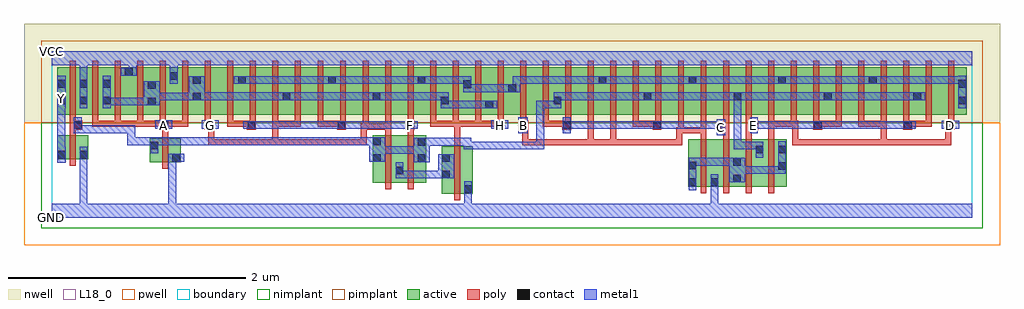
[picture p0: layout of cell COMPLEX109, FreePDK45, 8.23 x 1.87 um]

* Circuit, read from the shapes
.subckt COMPLEX109 A B C D E F G GND H VCC Y
M1 GND n1 Y VSUBS nfet w=0.2u l=0.05u
M2 GND A n1 VSUBS nfet w=0.2u l=0.05u
M3 n2 G n1 VSUBS nfet w=0.4u l=0.05u
M4 n1 F n2 VSUBS nfet w=0.4u l=0.05u
M5 GND H n2 VSUBS nfet w=0.4u l=0.05u
M6 GND B n3 VSUBS nfet w=0.4u l=0.05u
M7 n3 C GND VSUBS nfet w=0.4u l=0.05u
M8 n1 E n3 VSUBS nfet w=0.4u l=0.05u
M9 n3 D n1 VSUBS nfet w=0.4u l=0.05u
M10 VCC n1 Y n4 pfet w=0.4u l=0.05u
M11 n5 A VCC n4 pfet w=0.4u l=0.05u m=5
M12 n6 G n5 n4 pfet w=0.4u l=0.05u
M13 n7 F n6 n4 pfet w=0.4u l=0.05u
M14 n8 F n7 n4 pfet w=0.4u l=0.05u
M15 n5 G n8 n4 pfet w=0.4u l=0.05u
M16 n9 G n5 n4 pfet w=0.4u l=0.05u
M17 n7 F n9 n4 pfet w=0.4u l=0.05u
M18 n10 F n7 n4 pfet w=0.4u l=0.05u
M19 n5 G n10 n4 pfet w=0.4u l=0.05u
M20 n11 G n5 n4 pfet w=0.4u l=0.05u
M21 n7 F n11 n4 pfet w=0.4u l=0.05u
M22 n5 H n7 n4 pfet w=0.4u l=0.05u m=4
M23 n12 B n7 n4 pfet w=0.4u l=0.05u
M24 n1 C n12 n4 pfet w=0.4u l=0.05u
M25 n13 C n1 n4 pfet w=0.4u l=0.05u
M26 n7 B n13 n4 pfet w=0.4u l=0.05u
M27 n14 B n7 n4 pfet w=0.4u l=0.05u
M28 n1 C n14 n4 pfet w=0.4u l=0.05u
M29 n15 C n1 n4 pfet w=0.4u l=0.05u
M30 n7 B n15 n4 pfet w=0.4u l=0.05u
M31 n16 B n7 n4 pfet w=0.4u l=0.05u
M32 n1 C n16 n4 pfet w=0.4u l=0.05u
M33 n17 E n1 n4 pfet w=0.4u l=0.05u
M34 n7 D n17 n4 pfet w=0.4u l=0.05u
M35 n18 D n7 n4 pfet w=0.4u l=0.05u
M36 n1 E n18 n4 pfet w=0.4u l=0.05u
M37 n19 E n1 n4 pfet w=0.4u l=0.05u
M38 n7 D n19 n4 pfet w=0.4u l=0.05u
M39 n20 D n7 n4 pfet w=0.4u l=0.05u
M40 n1 E n20 n4 pfet w=0.4u l=0.05u
M41 n21 E n1 n4 pfet w=0.4u l=0.05u
M42 n7 D n21 n4 pfet w=0.4u l=0.05u
.ends

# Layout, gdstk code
import gdstk
lib = gdstk.Library(unit=1e-6, precision=1e-09)
def R(c, l, rs):  # rectangles x0, y0, x1, y1
    for r in rs: c.add(gdstk.rectangle(r[:2], r[2:], *l))
def A(c, l, x, y, w, h, nx, ny, dx, dy):  # array of equal rectangles
    R(c, l, [(x+i*dx, y+j*dy, x+i*dx+w, y+j*dy+h) for i in range(nx) for j in range(ny)])
active = (1, 0)
pwell = (2, 0)
nwell = (3, 0)
nimplant = (4, 0)
pimplant = (5, 0)
poly = (9, 0)
contact = (10, 0)
metal1 = (11, 0)
L18_0 = (18, 0)
boundary = (235, 0)

complex109 = lib.new_cell('COMPLEX109')
A(complex109, active, 5.55, 0.26, 0.265, 0.4, 3, 1, 0.19, 0)
A(complex109, active, 0.045, 0.867, 0.26, 0.4, 3, 1, 0.38, 0)
A(complex109, active, 0.045, 0.867, 0.075, 0.333, 5, 1, 0.38, 0)
A(complex109, active, 0.23, 0.867, 0.075, 0.4, 3, 1, 0.38, 0)
A(complex109, active, 0.23, 0.867, 0.27, 0.4, 3, 1, 0.38, 0)
A(complex109, active, 3.845, 0.867, 0.075, 0.333, 3, 1, 0.76, 0)
A(complex109, active, 3.845, 0.867, 0.225, 0.4, 6, 1, 0.38, 0)
A(complex109, active, 4.07, 0.867, 0.23, 0.4, 5, 1, 0.38, 0)
A(complex109, active, 4.225, 0.867, 0.075, 0.203, 4, 1, 0.76, 0)
R(complex109, active, [(3.287,0.202,3.547,0.602), (3.287,0.202,3.362,0.602), (3.472,0.202,3.547,0.602), (5.365,0.26,5.625,0.66), (5.365,0.26,5.44,0.66), (5.55,0.26,5.625,0.492), (2.705,0.292,2.97,0.692), (2.895,0.292,3.155,0.692), (5.74,0.292,5.815,0.507), (3.08,0.33,3.155,0.692), (2.705,0.345,2.78,0.692), (2.895,0.345,2.97,0.597), (5.93,0.345,6.005,0.61), (6.12,0.345,6.195,0.66), (0.827,0.467,0.902,0.667), (0.827,0.467,1.087,0.667), (1.012,0.467,1.087,0.667), (0.045,0.492,0.12,0.692), (0.045,0.492,0.305,0.692), (0.23,0.492,0.305,0.692), (1.185,0.867,1.41,1.267), (1.41,0.867,1.64,1.267), (1.565,0.867,1.79,1.267), (1.79,0.867,2.015,1.267), (1.94,0.867,2.17,1.267), (1.94,0.867,2.015,1.07), (2.17,0.867,2.4,1.267), (2.325,0.867,2.4,1.2), (2.325,0.867,2.55,1.267), (2.55,0.867,2.775,1.267), (2.7,0.867,2.93,1.267), (2.7,0.867,2.775,1.07), (2.93,0.867,3.155,1.267), (3.08,0.867,3.155,1.2), (3.08,0.867,3.35,1.267), (3.275,0.867,3.54,1.267), (3.275,0.867,3.35,1.07), (3.465,0.867,3.725,1.267), (3.465,0.867,3.54,1.2), (3.65,0.867,3.725,1.07), (3.65,0.867,3.92,1.267), (5.97,0.867,6.195,1.267), (6.12,0.867,6.195,1.2), (6.12,0.867,6.35,1.267), (6.35,0.867,6.58,1.267), (6.505,0.867,6.73,1.267), (6.73,0.867,6.96,1.267), (6.885,0.867,6.96,1.2), (6.885,0.867,7.11,1.267), (7.11,0.867,7.335,1.267), (7.26,0.867,7.49,1.267), (7.26,0.867,7.335,1.07), (7.49,0.867,7.715,1.267), (7.64,0.867,7.715,1.2)])
R(complex109, pwell, [(-0.235,-0.235,7.995,0.8)])
R(complex109, nwell, [(-0.235,0.8,7.995,1.635)])
R(complex109, nimplant, [(-0.09,-0.09,7.85,0.8)])
R(complex109, pimplant, [(-0.09,0.8,7.85,1.49)])
A(complex109, poly, 5.47, 0.205, 0.05, 0.51, 4, 1, 0.19, 0)
A(complex109, poly, 0.15, 0.767, 0.05, 0.095, 13, 1, 0.19, 0)
A(complex109, poly, 0.34, 0.767, 0.24, 0.05, 3, 1, 0.19, 0)
A(complex109, poly, 1.86, 0.767, 0.05, 0.05, 3, 1, 0.19, 0)
A(complex109, poly, 3, 0.767, 0.05, 0.095, 8, 1, 0.19, 0)
A(complex109, poly, 5.85, 0.767, 0.05, 0.095, 10, 1, 0.19, 0)
A(complex109, poly, 6.61, 0.767, 0.05, 0.05, 3, 1, 0.19, 0)
A(complex109, poly, 0.15, 0.812, 0.05, 0.51, 40, 1, 0.19, 0)
R(complex109, poly, [(3.392,0.147,3.442,0.657), (2.81,0.237,2.86,0.747), (3,0.237,3.05,0.747), (0.932,0.412,0.982,0.722), (0.15,0.437,0.2,0.747), (3.392,0.607,3.442,0.817), (1.32,0.61,1.37,0.66), (1.32,0.61,1.37,0.66), (1.32,0.61,1.37,0.66), (1.32,0.61,1.37,0.66), (1.32,0.61,1.37,0.66), (1.32,0.61,1.37,0.792), (1.32,0.61,1.562,0.66), (1.512,0.61,1.562,0.66), (1.512,0.61,1.562,0.66), (1.512,0.61,1.562,0.66), (1.512,0.61,1.777,0.66), (1.727,0.61,1.777,0.66), (1.727,0.61,1.777,0.66), (1.727,0.61,1.777,0.66), (1.727,0.61,1.91,0.66), (1.86,0.61,1.91,0.66), (1.86,0.61,1.91,0.66), (1.86,0.61,1.91,0.66), (1.86,0.61,1.91,0.66), (1.86,0.61,1.91,0.66), (1.86,0.61,2.042,0.66), (1.86,0.61,1.91,0.817), (1.992,0.61,2.042,0.66), (1.992,0.61,2.042,0.66), (1.992,0.61,2.042,0.66), (1.992,0.61,2.175,0.66), (2.125,0.61,2.175,0.66), (2.125,0.61,2.422,0.66), (2.372,0.61,2.422,0.66), (2.372,0.61,2.422,0.66), (2.372,0.61,2.422,0.66), (2.372,0.61,2.655,0.66), (2.605,0.61,2.655,0.66), (2.605,0.61,2.655,0.66), (2.605,0.61,2.655,0.66), (2.605,0.61,2.655,0.66), (2.605,0.61,2.655,0.66), (2.605,0.61,2.655,0.792), (3.965,0.61,4.015,0.66), (3.965,0.61,4.015,0.66), (3.965,0.61,4.015,0.66), (3.965,0.61,4.015,0.792), (3.965,0.61,4.147,0.66), (4.097,0.61,4.147,0.66), (4.097,0.61,4.147,0.66), (4.097,0.61,4.147,0.66), (4.097,0.61,4.322,0.66), (4.272,0.61,4.322,0.66), (4.272,0.61,4.322,0.66), (4.272,0.61,4.322,0.66), (4.272,0.61,4.57,0.66), (4.52,0.61,4.57,0.66), (4.52,0.61,4.57,0.66), (4.52,0.61,4.57,0.66), (4.52,0.61,4.57,0.66), (4.52,0.61,4.57,0.66), (4.52,0.61,4.57,0.66), (4.52,0.61,4.57,0.66), (4.52,0.61,4.76,0.66), (4.52,0.61,4.57,0.862), (4.71,0.61,4.76,0.66), (4.71,0.61,4.76,0.66), (4.71,0.61,4.76,0.66), (4.71,0.61,4.76,0.66), (4.71,0.61,4.76,0.66), (4.71,0.61,4.76,0.66), (4.71,0.61,4.76,0.66), (4.71,0.61,4.982,0.66), (4.71,0.61,4.76,0.862), (4.932,0.61,4.982,0.66), (4.932,0.61,5.155,0.66), (5.105,0.61,5.155,0.66), (5.105,0.61,5.155,0.66), (5.105,0.61,5.155,0.66), (5.105,0.61,5.315,0.66), (5.265,0.61,5.315,0.66), (5.265,0.61,5.315,0.66), (5.265,0.61,5.315,0.66), (5.265,0.61,5.315,0.66), (5.265,0.61,5.315,0.66), (5.265,0.61,5.315,0.76), (6.245,0.61,6.295,0.66), (6.245,0.61,6.427,0.66), (6.245,0.61,6.295,0.817), (6.377,0.61,6.427,0.66), (6.377,0.61,6.427,0.66), (6.377,0.61,6.427,0.66), (6.377,0.61,6.627,0.66), (6.577,0.61,6.627,0.66), (6.577,0.61,6.627,0.66), (6.577,0.61,6.627,0.66), (6.577,0.61,6.907,0.66), (6.857,0.61,6.907,0.66), (6.857,0.61,6.907,0.66), (6.857,0.61,6.907,0.66), (6.857,0.61,7.04,0.66), (6.99,0.61,7.04,0.66), (6.99,0.61,7.04,0.66), (6.99,0.61,7.04,0.66), (6.99,0.61,7.172,0.66), (6.99,0.61,7.04,0.817), (7.122,0.61,7.172,0.66), (7.122,0.61,7.172,0.66), (7.122,0.61,7.172,0.66), (7.122,0.61,7.32,0.66), (7.27,0.61,7.32,0.66), (7.27,0.61,7.452,0.66), (7.402,0.61,7.452,0.66), (7.402,0.61,7.452,0.66), (7.402,0.61,7.452,0.66), (7.402,0.61,7.585,0.66), (7.535,0.61,7.585,0.66), (7.535,0.61,7.585,0.792), (5.47,0.665,5.52,0.76), (5.66,0.665,5.71,0.772), (5.85,0.665,5.9,0.792), (6.04,0.665,6.09,0.817), (0.932,0.672,0.982,0.792), (0.15,0.697,0.2,0.792), (2.81,0.697,2.86,0.792), (3,0.697,3.05,0.792), (5.265,0.71,5.33,0.76), (5.28,0.71,5.52,0.76), (5.28,0.71,5.33,0.862), (5.47,0.71,5.52,0.76), (5.47,0.71,5.52,0.76), (5.47,0.71,5.52,0.76), (5.47,0.71,5.52,0.862), (5.607,0.722,5.71,0.797), (0.15,0.742,0.255,0.817), (0.91,0.742,0.985,0.817), (1.29,0.742,1.37,0.817), (1.645,0.742,1.72,0.817), (2.405,0.742,2.48,0.817), (2.605,0.742,2.67,0.792), (2.62,0.742,2.86,0.792), (2.62,0.742,2.67,0.862), (2.81,0.742,2.86,0.792), (2.81,0.742,2.86,0.792), (2.81,0.742,2.86,0.792), (2.81,0.742,2.86,0.862), (2.982,0.742,3.057,0.817), (3.737,0.742,3.812,0.817), (3.94,0.742,4.015,0.817), (3.965,0.742,4.015,0.792), (3.965,0.742,4.015,0.792), (4.305,0.742,4.38,0.817), (5.065,0.742,5.14,0.817), (5.85,0.742,5.957,0.817), (6.42,0.742,6.495,0.817), (7.18,0.742,7.255,0.817), (7.535,0.742,7.585,0.792), (7.535,0.742,7.585,0.792), (7.535,0.742,7.61,0.817), (5.66,0.747,5.71,0.862), (0.34,0.767,0.39,0.817), (0.34,0.767,0.39,0.817), (0.34,0.767,0.39,0.817), (0.53,0.767,0.58,0.817), (0.53,0.767,0.58,0.817), (0.53,0.767,0.58,0.817), (0.72,0.767,0.77,0.817), (0.72,0.767,0.77,0.817), (0.72,0.767,0.77,0.817), (0.935,0.767,0.985,0.817), (0.935,0.767,0.985,0.817), (0.935,0.767,1.15,0.817), (1.1,0.767,1.15,0.817), (1.48,0.767,1.53,0.817), (1.48,0.767,1.53,0.817), (1.48,0.767,1.53,0.817), (1.48,0.767,1.695,0.817), (1.86,0.767,1.91,0.817), (1.86,0.767,1.91,0.817), (1.86,0.767,2.1,0.817), (2.24,0.767,2.29,0.817), (2.24,0.767,2.29,0.817), (2.24,0.767,2.455,0.817), (3.19,0.767,3.24,0.817), (3.19,0.767,3.24,0.817), (3.19,0.767,3.24,0.817), (3.19,0.767,3.43,0.817), (3.38,0.767,3.442,0.817), (3.392,0.767,3.442,0.817), (3.392,0.767,3.442,0.817), (3.392,0.767,3.62,0.817), (3.57,0.767,3.62,0.817), (3.57,0.767,3.62,0.817), (3.57,0.767,3.62,0.817), (3.57,0.767,3.787,0.817), (4.14,0.767,4.19,0.817), (4.14,0.767,4.19,0.817), (4.14,0.767,4.19,0.817), (4.14,0.767,4.355,0.817), (4.9,0.767,4.95,0.862), (4.9,0.767,4.95,0.817), (4.9,0.767,4.95,0.817), (4.9,0.767,4.95,0.817), (4.9,0.767,5.115,0.817), (5.09,0.767,5.14,0.862), (6.04,0.767,6.09,0.817), (6.04,0.767,6.28,0.817), (6.23,0.767,6.28,0.817), (6.23,0.767,6.28,0.817), (6.23,0.767,6.295,0.817), (6.245,0.767,6.295,0.817), (6.245,0.767,6.295,0.817), (6.445,0.767,6.66,0.817), (6.61,0.767,6.66,0.817), (6.61,0.767,6.66,0.817), (6.8,0.767,7.04,0.817), (6.99,0.767,7.04,0.817), (6.99,0.767,7.04,0.817), (6.99,0.767,7.04,0.817), (6.99,0.767,7.04,0.817), (7.205,0.767,7.32,0.817), (7.27,0.767,7.32,0.817), (7.27,0.767,7.42,0.817), (7.37,0.767,7.42,0.817)])
A(complex109, contact, 4.99, 0.99, 0.065, 0.065, 3, 1, 0.76, 0)
R(complex109, contact, [(3.477,0.207,3.542,0.272), (5.37,0.265,5.435,0.33), (5.555,0.265,5.62,0.33), (5.745,0.297,5.81,0.362), (3.292,0.33,3.357,0.395), (2.9,0.365,2.965,0.43), (6.125,0.402,6.19,0.467), (5.37,0.405,5.435,0.47), (5.745,0.437,5.81,0.502), (3.085,0.467,3.15,0.532), (2.71,0.47,2.775,0.535), (3.292,0.47,3.357,0.535), (1.017,0.472,1.082,0.537), (0.05,0.497,0.115,0.562), (0.235,0.497,0.3,0.562), (5.935,0.54,6,0.605), (6.125,0.542,6.19,0.607), (0.832,0.575,0.897,0.64), (3.085,0.607,3.15,0.672), (2.71,0.61,2.775,0.675), (5.612,0.727,5.677,0.792), (0.185,0.747,0.25,0.812), (0.915,0.747,0.98,0.812), (1.3,0.747,1.365,0.812), (1.65,0.747,1.715,0.812), (2.41,0.747,2.475,0.812), (2.987,0.747,3.052,0.812), (3.742,0.747,3.807,0.812), (3.945,0.747,4.01,0.812), (4.31,0.747,4.375,0.812), (5.07,0.747,5.135,0.812), (5.887,0.747,5.952,0.812), (6.425,0.747,6.49,0.812), (7.185,0.747,7.25,0.812), (7.54,0.747,7.605,0.812), (3.655,0.92,3.72,0.985), (0.81,0.945,0.875,1.01), (0.05,0.955,0.115,1.02), (0.235,0.955,0.3,1.02), (0.43,0.955,0.495,1.02), (3.28,0.955,3.345,1.02), (4.23,0.955,4.295,1.02), (7.645,0.955,7.71,1.02), (1.19,0.987,1.255,1.052), (1.945,0.99,2.01,1.055), (2.705,0.99,2.77,1.055), (7.265,0.99,7.33,1.055), (3.85,1.057,3.915,1.122), (0.81,1.085,0.875,1.15), (3.47,1.092,3.535,1.157), (0.05,1.095,0.115,1.16), (0.235,1.095,0.3,1.16), (0.43,1.095,0.495,1.16), (7.645,1.095,7.71,1.16), (1.19,1.127,1.255,1.192), (1.57,1.127,1.635,1.192), (2.33,1.127,2.395,1.192), (3.085,1.127,3.15,1.192), (4.61,1.127,4.675,1.192), (5.37,1.127,5.435,1.192), (6.125,1.127,6.19,1.192), (6.89,1.127,6.955,1.192), (0.995,1.162,1.06,1.227), (0.615,1.197,0.68,1.262)])
A(complex109, metal1, 5.935, 0.367, 0.22, 0.065, 1, 3, 0, 0.38)
A(complex109, metal1, 2.812, 0.747, 0.135, 0.065, 3, 1, 0.07, 0)
R(complex109, metal1, [(0,0,7.76,0.115), (0.235,0.05,0.3,0.527), (0.982,0.05,1.047,0.537), (3.477,0.05,3.542,0.115), (3.477,0.05,3.542,0.115), (3.477,0.05,3.542,0.115), (3.477,0.05,3.542,0.115), (3.477,0.05,3.542,0.237), (5.555,0.05,5.62,0.115), (5.555,0.05,5.62,0.115), (5.555,0.05,5.62,0.295), (3.477,0.172,3.542,0.307), (5.37,0.23,5.435,0.505), (5.555,0.23,5.62,0.295), (5.555,0.23,5.62,0.295), (5.555,0.23,5.62,0.365), (5.71,0.297,5.845,0.502), (2.9,0.33,2.965,0.465), (2.9,0.33,3.015,0.395), (2.95,0.33,3.015,0.395), (2.95,0.33,3.185,0.395), (3.12,0.33,3.185,0.395), (3.12,0.33,3.26,0.395), (3.195,0.33,3.26,0.395), (3.195,0.33,3.322,0.395), (3.257,0.33,3.392,0.535), (5.78,0.367,6,0.432), (5.935,0.367,6,0.432), (5.935,0.367,6,0.432), (5.935,0.367,6,0.432), (6.09,0.367,6.155,0.432), (6.09,0.367,6.19,0.432), (6.125,0.367,6.19,0.642), (5.37,0.437,5.47,0.502), (5.405,0.437,5.47,0.502), (5.405,0.437,5.607,0.502), (5.542,0.437,5.607,0.502), (5.542,0.437,5.775,0.502), (5.71,0.437,5.775,0.502), (5.71,0.437,5.775,0.502), (0.047,0.462,0.115,0.597), (0.235,0.462,0.3,0.527), (0.235,0.462,0.3,0.527), (0.235,0.462,0.3,0.527), (0.235,0.462,0.3,0.527), (0.235,0.462,0.3,0.527), (0.235,0.462,0.3,0.527), (0.235,0.462,0.3,0.527), (0.235,0.462,0.3,0.527), (0.235,0.462,0.3,0.597), (3.05,0.467,3.185,0.672), (2.675,0.47,2.81,0.675), (0.982,0.472,1.047,0.537), (0.982,0.472,1.047,0.537), (0.982,0.472,1.047,0.537), (0.982,0.472,1.047,0.537), (0.982,0.472,1.047,0.537), (0.982,0.472,1.047,0.537), (0.982,0.472,1.047,0.537), (0.982,0.472,1.047,0.537), (0.982,0.472,1.117,0.537), (5.935,0.505,6,0.64), (0.047,0.532,0.112,0.597), (0.047,0.532,0.112,0.597), (0.047,0.532,0.112,0.597), (0.047,0.532,0.112,0.597), (0.047,0.532,0.112,0.985), (2.745,0.537,2.877,0.602), (2.812,0.537,2.877,0.602), (2.812,0.537,2.977,0.602), (2.912,0.537,2.977,0.602), (2.912,0.537,3.115,0.602), (3.05,0.537,3.115,0.602), (3.05,0.537,3.115,0.602), (0.832,0.54,0.897,0.675), (3.472,0.575,3.675,0.64), (3.472,0.575,3.537,0.672), (3.61,0.575,3.675,0.64), (3.61,0.575,3.812,0.64), (3.747,0.575,3.812,0.64), (3.747,0.575,3.812,0.64), (3.747,0.575,3.812,0.64), (3.747,0.575,3.95,0.64), (3.885,0.575,3.95,0.64), (3.885,0.575,4.15,0.64), (4.085,0.575,4.15,0.64), (4.085,0.575,4.15,0.985), (5.75,0.575,5.815,0.64), (5.75,0.575,6,0.64), (5.75,0.575,5.815,1.055), (5.935,0.575,6,0.64), (5.935,0.575,6,0.64), (3.12,0.607,3.252,0.672), (3.187,0.607,3.252,0.672), (3.187,0.607,3.397,0.672), (3.332,0.607,3.397,0.672), (3.332,0.607,3.397,0.672), (3.332,0.607,3.397,0.672), (3.332,0.607,3.537,0.672), (3.472,0.607,3.537,0.672), (3.472,0.607,3.537,0.672), (0.637,0.61,0.702,0.675), (0.637,0.61,0.702,0.675), (0.637,0.61,0.702,0.675), (0.637,0.61,0.897,0.675), (0.637,0.61,0.702,0.777), (0.832,0.61,0.897,0.675), (0.832,0.61,0.897,0.675), (0.832,0.61,1.047,0.675), (0.982,0.61,1.047,0.675), (0.982,0.61,1.047,0.675), (0.982,0.61,1.047,0.675), (0.982,0.61,1.23,0.675), (1.165,0.61,1.23,0.675), (1.165,0.61,1.23,0.675), (1.165,0.61,1.23,0.675), (1.165,0.61,1.462,0.675), (1.397,0.61,1.462,0.675), (1.397,0.61,1.462,0.675), (1.397,0.61,1.462,0.675), (1.397,0.61,1.67,0.675), (1.605,0.61,1.67,0.675), (1.605,0.61,1.807,0.675), (1.742,0.61,1.807,0.675), (1.742,0.61,1.807,0.675), (1.742,0.61,1.807,0.675), (1.742,0.61,1.945,0.675), (1.88,0.61,1.945,0.675), (1.88,0.61,2.082,0.675), (2.017,0.61,2.082,0.675), (2.017,0.61,2.082,0.675), (2.017,0.61,2.082,0.675), (2.017,0.61,2.22,0.675), (2.155,0.61,2.22,0.675), (2.155,0.61,2.292,0.675), (2.227,0.61,2.292,0.675), (2.227,0.61,2.43,0.675), (2.365,0.61,2.43,0.675), (2.365,0.61,2.43,0.675), (2.365,0.61,2.43,0.675), (2.365,0.61,2.577,0.675), (2.512,0.61,2.577,0.675), (2.512,0.61,2.74,0.675), (2.675,0.61,2.74,0.675), (2.675,0.61,2.74,0.675), (5.607,0.692,5.677,0.827), (0.185,0.712,0.25,0.777), (0.185,0.712,0.25,0.777), (0.185,0.712,0.387,0.777), (0.185,0.712,0.25,0.847), (0.322,0.712,0.387,0.777), (0.322,0.712,0.387,0.777), (0.322,0.712,0.387,0.777), (0.322,0.712,0.565,0.777), (0.5,0.712,0.565,0.777), (0.5,0.712,0.702,0.777), (0.637,0.712,0.702,0.777), (3.932,0.712,4.012,0.847), (4.31,0.712,4.375,0.847), (5.887,0.712,5.952,0.847), (0.872,0.747,1.015,0.822), (1.265,0.747,1.407,0.822), (1.615,0.747,1.75,0.812), (1.685,0.747,1.807,0.812), (1.742,0.747,1.807,0.812), (1.742,0.747,1.945,0.812), (1.88,0.747,1.945,0.812), (1.88,0.747,1.945,0.812), (1.88,0.747,1.945,0.812), (1.88,0.747,2.082,0.812), (2.017,0.747,2.082,0.812), (2.017,0.747,2.222,0.812), (2.157,0.747,2.222,0.812), (2.157,0.747,2.222,0.812), (2.157,0.747,2.222,0.812), (2.157,0.747,2.44,0.812), (2.375,0.747,2.44,0.812), (2.375,0.747,2.44,0.812), (2.375,0.747,2.51,0.812), (2.445,0.747,2.597,0.812), (2.532,0.747,2.597,0.812), (2.532,0.747,2.735,0.812), (2.67,0.747,2.735,0.812), (2.67,0.747,2.735,0.812), (2.67,0.747,2.735,0.812), (2.67,0.747,2.877,0.812), (2.812,0.747,2.877,0.812), (2.882,0.747,2.947,0.812), (3.707,0.747,3.847,0.822), (4.31,0.747,4.432,0.812), (4.367,0.747,4.432,0.812), (4.367,0.747,4.57,0.812), (4.505,0.747,4.57,0.812), (4.505,0.747,4.707,0.812), (4.642,0.747,4.707,0.812), (4.642,0.747,4.707,0.812), (4.642,0.747,4.707,0.812), (4.642,0.747,4.882,0.812), (4.817,0.747,4.882,0.812), (4.817,0.747,4.882,0.812), (4.817,0.747,4.882,0.812), (4.817,0.747,5.1,0.812), (5.035,0.747,5.1,0.812), (5.035,0.747,5.1,0.812), (5.035,0.747,5.17,0.812), (5.105,0.747,5.262,0.812), (5.197,0.747,5.262,0.812), (5.197,0.747,5.332,0.812), (5.267,0.747,5.332,0.812), (5.267,0.747,5.47,0.812), (5.405,0.747,5.47,0.812), (5.405,0.747,5.47,0.812), (5.405,0.747,5.47,0.812), (5.405,0.747,5.607,0.812), (5.542,0.747,5.607,0.812), (5.542,0.747,5.672,0.812), (5.887,0.747,6,0.812), (5.935,0.747,6,0.812), (6.09,0.747,6.155,0.812), (6.09,0.747,6.155,0.812), (6.09,0.747,6.155,0.812), (6.09,0.747,6.292,0.812), (6.227,0.747,6.292,0.812), (6.227,0.747,6.387,0.812), (6.322,0.747,6.387,0.812), (6.322,0.747,6.455,0.812), (6.39,0.747,6.525,0.812), (6.46,0.747,6.525,0.812), (6.46,0.747,6.525,0.812), (6.46,0.747,6.747,0.812), (6.682,0.747,6.747,0.812), (6.682,0.747,6.747,0.812), (6.682,0.747,6.747,0.812), (6.682,0.747,6.92,0.812), (6.855,0.747,6.92,0.812), (6.855,0.747,6.92,0.812), (6.855,0.747,6.92,0.812), (6.855,0.747,7.077,0.812), (7.012,0.747,7.077,0.812), (7.012,0.747,7.157,0.812), (7.092,0.747,7.157,0.812), (7.092,0.747,7.215,0.812), (7.15,0.747,7.285,0.812), (7.505,0.747,7.652,0.817), (0.047,0.92,0.115,1.195), (0.235,0.92,0.3,1.195), (0.43,0.92,0.495,1.195), (3.28,0.92,3.345,1.055), (3.28,0.92,3.397,0.985), (3.332,0.92,3.397,0.985), (3.332,0.92,3.537,0.985), (3.472,0.92,3.537,0.985), (3.472,0.92,3.537,0.985), (3.472,0.92,3.537,0.985), (3.472,0.92,3.685,0.985), (3.62,0.92,3.755,0.985), (4.085,0.92,4.15,0.985), (4.085,0.92,4.15,0.985), (4.085,0.92,4.15,0.985), (4.085,0.92,4.15,0.985), (4.085,0.92,4.15,0.985), (4.085,0.92,4.295,0.985), (4.23,0.92,4.295,1.055), (7.645,0.92,7.71,1.195), (0.43,0.945,0.565,1.01), (0.5,0.945,0.565,1.01), (0.5,0.945,0.702,1.01), (0.637,0.945,0.702,1.01), (0.637,0.945,0.702,1.01), (0.637,0.945,0.702,1.01), (0.637,0.945,0.84,1.01), (0.775,0.945,0.91,1.15), (0.845,0.987,0.91,1.052), (0.845,0.987,0.91,1.052), (0.845,0.987,1.082,1.052), (1.017,0.987,1.082,1.052), (1.017,0.987,1.082,1.052), (1.017,0.987,1.082,1.052), (1.017,0.987,1.22,1.052), (1.155,0.987,1.29,1.192), (1.225,0.99,1.29,1.055), (1.225,0.99,1.29,1.055), (1.225,0.99,1.462,1.055), (1.397,0.99,1.462,1.055), (1.397,0.99,1.462,1.055), (1.397,0.99,1.462,1.055), (1.397,0.99,1.462,1.055), (1.397,0.99,1.462,1.055), (1.397,0.99,1.6,1.055), (1.535,0.99,1.6,1.055), (1.535,0.99,1.6,1.055), (1.535,0.99,1.6,1.055), (1.535,0.99,1.807,1.055), (1.742,0.99,1.807,1.055), (1.742,0.99,1.945,1.055), (1.88,0.99,1.945,1.055), (1.88,0.99,1.975,1.055), (1.91,0.99,2.045,1.055), (1.98,0.99,2.082,1.055), (2.017,0.99,2.082,1.055), (2.017,0.99,2.222,1.055), (2.157,0.99,2.222,1.055), (2.157,0.99,2.222,1.055), (2.157,0.99,2.222,1.055), (2.157,0.99,2.44,1.055), (2.375,0.99,2.44,1.055), (2.375,0.99,2.577,1.055), (2.512,0.99,2.577,1.055), (2.512,0.99,2.577,1.055), (2.512,0.99,2.577,1.055), (2.512,0.99,2.735,1.055), (2.67,0.99,2.735,1.055), (2.67,0.99,2.735,1.055), (2.67,0.99,2.805,1.055), (2.74,0.99,2.877,1.055), (2.812,0.99,2.877,1.055), (2.812,0.99,2.977,1.055), (2.912,0.99,2.977,1.055), (2.912,0.99,3.115,1.055), (3.05,0.99,3.115,1.055), (3.05,0.99,3.115,1.055), (3.05,0.99,3.115,1.055), (3.05,0.99,3.26,1.055), (3.195,0.99,3.26,1.055), (3.195,0.99,3.345,1.055), (4.23,0.99,4.432,1.055), (4.367,0.99,4.432,1.055), (4.367,0.99,4.432,1.055), (4.367,0.99,4.432,1.055), (4.367,0.99,4.57,1.055), (4.505,0.99,4.57,1.055), (4.505,0.99,4.57,1.055), (4.505,0.99,4.57,1.055), (4.505,0.99,4.745,1.055), (4.68,0.99,4.745,1.055), (4.68,0.99,4.882,1.055), (4.817,0.99,4.882,1.055), (4.817,0.99,4.882,1.055), (4.817,0.99,4.882,1.055), (4.817,0.99,5.02,1.055), (4.955,0.99,5.09,1.055), (5.025,0.99,5.09,1.055), (5.025,0.99,5.09,1.055), (5.025,0.99,5.237,1.055), (5.172,0.99,5.237,1.055), (5.172,0.99,5.307,1.055), (5.242,0.99,5.307,1.055), (5.242,0.99,5.47,1.055), (5.405,0.99,5.47,1.055), (5.405,0.99,5.47,1.055), (5.405,0.99,5.47,1.055), (5.405,0.99,5.607,1.055), (5.542,0.99,5.607,1.055), (5.542,0.99,5.607,1.055), (5.542,0.99,5.607,1.055), (5.542,0.99,5.78,1.055), (5.715,0.99,5.85,1.055), (5.75,0.99,5.815,1.055), (5.75,0.99,5.815,1.055), (5.785,0.99,6,1.055), (5.935,0.99,6,1.055), (5.935,0.99,6,1.055), (5.935,0.99,6,1.055), (5.935,0.99,6.137,1.055), (6.072,0.99,6.137,1.055), (6.072,0.99,6.137,1.055), (6.072,0.99,6.137,1.055), (6.072,0.99,6.292,1.055), (6.227,0.99,6.292,1.055), (6.227,0.99,6.387,1.055), (6.322,0.99,6.387,1.055), (6.322,0.99,6.54,1.055), (6.475,0.99,6.54,1.055), (6.475,0.99,6.54,1.055), (6.475,0.99,6.61,1.055), (6.545,0.99,6.747,1.055), (6.682,0.99,6.747,1.055), (6.682,0.99,6.747,1.055), (6.682,0.99,6.747,1.055), (6.682,0.99,6.92,1.055), (6.855,0.99,6.92,1.055), (6.855,0.99,6.92,1.055), (6.855,0.99,6.92,1.055), (6.855,0.99,7.077,1.055), (7.012,0.99,7.077,1.055), (7.012,0.99,7.157,1.055), (7.092,0.99,7.157,1.055), (7.092,0.99,7.295,1.055), (7.23,0.99,7.295,1.055), (7.23,0.99,7.295,1.055), (7.23,0.99,7.365,1.055), (3.47,1.057,3.535,1.122), (3.47,1.057,3.535,1.122), (3.47,1.057,3.535,1.192), (3.47,1.057,3.675,1.122), (3.61,1.057,3.675,1.122), (3.61,1.057,3.675,1.122), (3.61,1.057,3.675,1.122), (3.61,1.057,3.88,1.122), (3.815,1.057,3.95,1.122), (3.885,1.057,3.95,1.122), (3.885,1.057,3.95,1.192), (0.995,1.127,1.06,1.262), (1.535,1.127,1.67,1.192), (1.605,1.127,1.67,1.192), (1.605,1.127,1.67,1.192), (1.605,1.127,1.807,1.192), (1.742,1.127,1.807,1.192), (1.742,1.127,1.945,1.192), (1.88,1.127,1.945,1.192), (1.88,1.127,2.082,1.192), (2.017,1.127,2.082,1.192), (2.017,1.127,2.082,1.192), (2.017,1.127,2.082,1.192), (2.017,1.127,2.222,1.192), (2.157,1.127,2.222,1.192), (2.157,1.127,2.222,1.192), (2.157,1.127,2.222,1.192), (2.157,1.127,2.36,1.192), (2.295,1.127,2.43,1.192), (2.365,1.127,2.43,1.192), (2.365,1.127,2.43,1.192), (2.365,1.127,2.597,1.192), (2.532,1.127,2.597,1.192), (2.532,1.127,2.735,1.192), (2.67,1.127,2.735,1.192), (2.67,1.127,2.735,1.192), (2.67,1.127,2.735,1.192), (2.67,1.127,2.877,1.192), (2.812,1.127,2.877,1.192), (2.812,1.127,2.977,1.192), (2.912,1.127,2.977,1.192), (2.912,1.127,3.015,1.192), (2.95,1.127,3.015,1.192), (2.95,1.127,3.115,1.192), (3.05,1.127,3.185,1.192), (3.12,1.127,3.252,1.192), (3.187,1.127,3.252,1.192), (3.187,1.127,3.397,1.192), (3.332,1.127,3.397,1.192), (3.332,1.127,3.397,1.192), (3.332,1.127,3.397,1.192), (3.332,1.127,3.535,1.192), (3.885,1.127,4.15,1.192), (4.085,1.127,4.15,1.192), (4.085,1.127,4.15,1.192), (4.085,1.127,4.15,1.192), (4.085,1.127,4.287,1.192), (4.222,1.127,4.287,1.192), (4.222,1.127,4.287,1.192), (4.222,1.127,4.287,1.192), (4.222,1.127,4.432,1.192), (4.367,1.127,4.432,1.192), (4.367,1.127,4.57,1.192), (4.505,1.127,4.57,1.192), (4.505,1.127,4.64,1.192), (4.575,1.127,4.71,1.192), (4.645,1.127,4.71,1.192), (4.645,1.127,4.71,1.192), (4.645,1.127,4.882,1.192), (4.817,1.127,4.882,1.192), (4.817,1.127,4.882,1.192), (4.817,1.127,4.882,1.192), (4.817,1.127,5.1,1.192), (5.035,1.127,5.1,1.192), (5.035,1.127,5.1,1.192), (5.035,1.127,5.1,1.192), (5.035,1.127,5.237,1.192), (5.172,1.127,5.237,1.192), (5.172,1.127,5.332,1.192), (5.267,1.127,5.332,1.192), (5.267,1.127,5.4,1.192), (5.335,1.127,5.47,1.192), (5.405,1.127,5.47,1.192), (5.405,1.127,5.47,1.192), (5.405,1.127,5.637,1.192), (5.572,1.127,5.637,1.192), (5.572,1.127,5.637,1.192), (5.572,1.127,5.637,1.192), (5.572,1.127,5.862,1.192), (5.797,1.127,5.862,1.192), (5.797,1.127,5.912,1.192), (5.847,1.127,5.912,1.192), (5.847,1.127,6,1.192), (5.935,1.127,6,1.192), (6.09,1.127,6.155,1.192), (6.09,1.127,6.155,1.192), (6.09,1.127,6.225,1.192), (6.16,1.127,6.292,1.192), (6.227,1.127,6.292,1.192), (6.227,1.127,6.387,1.192), (6.322,1.127,6.387,1.192), (6.322,1.127,6.525,1.192), (6.46,1.127,6.525,1.192), (6.46,1.127,6.525,1.192), (6.46,1.127,6.525,1.192), (6.46,1.127,6.782,1.192), (6.717,1.127,6.782,1.192), (6.717,1.127,6.782,1.192), (6.717,1.127,6.782,1.192), (6.717,1.127,6.92,1.192), (6.855,1.127,6.92,1.192), (6.855,1.127,6.92,1.192), (6.855,1.127,6.99,1.192), (6.925,1.127,7.057,1.192), (6.992,1.127,7.057,1.192), (6.992,1.127,7.127,1.192), (7.062,1.127,7.127,1.192), (7.062,1.127,7.295,1.192), (7.23,1.127,7.295,1.192), (7.23,1.127,7.295,1.192), (7.23,1.127,7.295,1.192), (7.23,1.127,7.432,1.192), (7.367,1.127,7.432,1.192), (7.367,1.127,7.432,1.192), (7.367,1.127,7.432,1.192), (7.367,1.127,7.71,1.192), (7.645,1.127,7.71,1.192), (7.645,1.127,7.71,1.192), (0.235,1.13,0.3,1.35), (0.58,1.197,0.715,1.262), (0.65,1.197,0.715,1.35), (0.995,1.197,1.06,1.35), (0,1.285,7.76,1.4)])
A(complex109, L18_0, 2.812, 0.747, 0.135, 0.065, 3, 1, 0.07, 0)
R(complex109, L18_0, [(0,0,7.76,0.115), (0.235,0.05,0.3,0.527), (0.982,0.05,1.047,0.537), (3.477,0.05,3.542,0.115), (3.477,0.05,3.542,0.115), (3.477,0.05,3.542,0.115), (3.477,0.05,3.542,0.115), (3.477,0.05,3.542,0.237), (5.555,0.05,5.62,0.115), (5.555,0.05,5.62,0.115), (5.555,0.05,5.62,0.295), (3.477,0.172,3.542,0.307), (5.555,0.23,5.62,0.295), (5.555,0.23,5.62,0.295), (5.555,0.23,5.62,0.365), (0.047,0.462,0.115,0.597), (0.235,0.462,0.3,0.527), (0.235,0.462,0.3,0.527), (0.235,0.462,0.3,0.527), (0.235,0.462,0.3,0.527), (0.235,0.462,0.3,0.527), (0.235,0.462,0.3,0.527), (0.235,0.462,0.3,0.527), (0.235,0.462,0.3,0.527), (0.235,0.462,0.3,0.597), (0.982,0.472,1.047,0.537), (0.982,0.472,1.047,0.537), (0.982,0.472,1.047,0.537), (0.982,0.472,1.047,0.537), (0.982,0.472,1.047,0.537), (0.982,0.472,1.047,0.537), (0.982,0.472,1.047,0.537), (0.982,0.472,1.047,0.537), (0.982,0.472,1.117,0.537), (0.047,0.532,0.112,0.597), (0.047,0.532,0.112,0.597), (0.047,0.532,0.112,0.597), (0.047,0.532,0.112,0.597), (0.047,0.532,0.112,0.985), (5.607,0.692,5.677,0.827), (3.932,0.712,4.012,0.847), (4.31,0.712,4.375,0.847), (5.887,0.712,5.952,0.847), (5.607,0.727,5.672,0.792), (0.872,0.747,1.015,0.822), (0.907,0.747,0.972,0.812), (1.265,0.747,1.407,0.822), (1.307,0.747,1.372,0.812), (1.615,0.747,1.75,0.812), (1.685,0.747,1.807,0.812), (1.742,0.747,1.807,0.812), (1.742,0.747,1.945,0.812), (1.88,0.747,1.945,0.812), (1.88,0.747,1.945,0.812), (1.88,0.747,1.945,0.812), (1.88,0.747,2.082,0.812), (2.017,0.747,2.082,0.812), (2.017,0.747,2.222,0.812), (2.157,0.747,2.222,0.812), (2.157,0.747,2.222,0.812), (2.157,0.747,2.222,0.812), (2.157,0.747,2.44,0.812), (2.375,0.747,2.44,0.812), (2.375,0.747,2.44,0.812), (2.375,0.747,2.51,0.812), (2.445,0.747,2.597,0.812), (2.532,0.747,2.597,0.812), (2.532,0.747,2.735,0.812), (2.67,0.747,2.735,0.812), (2.67,0.747,2.735,0.812), (2.67,0.747,2.735,0.812), (2.67,0.747,2.877,0.812), (2.812,0.747,2.877,0.812), (2.882,0.747,2.947,0.812), (2.987,0.747,3.052,0.812), (3.707,0.747,3.847,0.822), (3.747,0.747,3.812,0.812), (3.947,0.747,4.012,0.812), (4.31,0.747,4.432,0.812), (4.367,0.747,4.432,0.812), (4.367,0.747,4.57,0.812), (4.505,0.747,4.57,0.812), (4.505,0.747,4.707,0.812), (4.642,0.747,4.707,0.812), (4.642,0.747,4.707,0.812), (4.642,0.747,4.707,0.812), (4.642,0.747,4.882,0.812), (4.817,0.747,4.882,0.812), (4.817,0.747,4.882,0.812), (4.817,0.747,4.882,0.812), (4.817,0.747,5.1,0.812), (5.035,0.747,5.1,0.812), (5.035,0.747,5.1,0.812), (5.035,0.747,5.17,0.812), (5.105,0.747,5.262,0.812), (5.197,0.747,5.262,0.812), (5.197,0.747,5.332,0.812), (5.267,0.747,5.332,0.812), (5.267,0.747,5.47,0.812), (5.405,0.747,5.47,0.812), (5.405,0.747,5.47,0.812), (5.405,0.747,5.47,0.812), (5.405,0.747,5.607,0.812), (5.542,0.747,5.607,0.812), (5.542,0.747,5.672,0.812), (5.887,0.747,5.952,0.812), (5.887,0.747,6,0.812), (5.935,0.747,6,0.812), (5.935,0.747,6.155,0.812), (6.09,0.747,6.155,0.812), (6.09,0.747,6.155,0.812), (6.09,0.747,6.155,0.812), (6.09,0.747,6.292,0.812), (6.227,0.747,6.292,0.812), (6.227,0.747,6.387,0.812), (6.322,0.747,6.387,0.812), (6.322,0.747,6.455,0.812), (6.39,0.747,6.525,0.812), (6.46,0.747,6.525,0.812), (6.46,0.747,6.525,0.812), (6.46,0.747,6.747,0.812), (6.682,0.747,6.747,0.812), (6.682,0.747,6.747,0.812), (6.682,0.747,6.747,0.812), (6.682,0.747,6.92,0.812), (6.855,0.747,6.92,0.812), (6.855,0.747,6.92,0.812), (6.855,0.747,6.92,0.812), (6.855,0.747,7.077,0.812), (7.012,0.747,7.077,0.812), (7.012,0.747,7.157,0.812), (7.092,0.747,7.157,0.812), (7.092,0.747,7.215,0.812), (7.15,0.747,7.285,0.812), (7.505,0.747,7.652,0.817), (7.547,0.747,7.612,0.812), (0.047,0.92,0.115,1.195), (0.235,0.92,0.3,1.195), (0.047,0.967,0.112,1.032), (0.995,1.127,1.06,1.262), (0.235,1.13,0.3,1.35), (0.58,1.197,0.715,1.262), (0.65,1.197,0.715,1.35), (0.995,1.197,1.06,1.35), (0,1.285,7.76,1.4)])
R(complex109, boundary, [(0,0,7.76,1.4)])
complex109.add(gdstk.Label('A', (0.94,0.78), layer=11, texttype=0))
complex109.add(gdstk.Label('B', (3.98,0.78), layer=11, texttype=0))
complex109.add(gdstk.Label('C', (5.64,0.76), layer=11, texttype=0))
complex109.add(gdstk.Label('D', (7.58,0.78), layer=11, texttype=0))
complex109.add(gdstk.Label('E', (5.92,0.78), layer=11, texttype=0))
complex109.add(gdstk.Label('F', (3.02,0.78), layer=11, texttype=0))
complex109.add(gdstk.Label('G', (1.34,0.78), layer=11, texttype=0))
complex109.add(gdstk.Label('H', (3.78,0.78), layer=11, texttype=0))
complex109.add(gdstk.Label('Y', (0.08,1), layer=11, texttype=0))
complex109.add(gdstk.Label('VCC', (0,1.4), layer=11, texttype=0))
complex109.add(gdstk.Label('GND', (0,0), layer=11, texttype=0))

lib.write_gds('COMPLEX109.gds')
